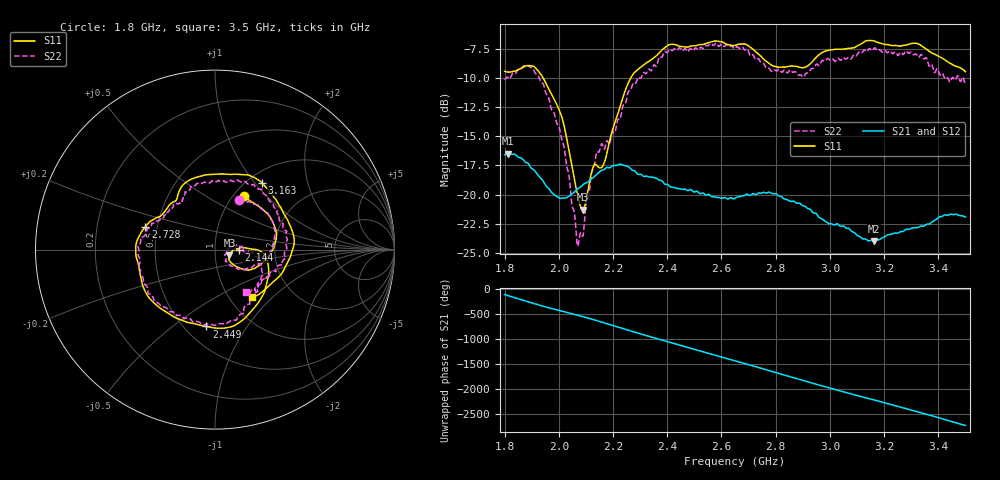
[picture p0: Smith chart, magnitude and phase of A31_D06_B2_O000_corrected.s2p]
! Created with skrf 1.9.0 (http://scikit-rf.org).
# Hz S RI R 50.0
!freq ReS11 ImS11 ReS21 ImS21 ReS12 ImS12 ReS22 ImS22
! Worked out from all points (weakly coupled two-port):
!   1601 points, 1.8 GHz to 3.5 GHz, reference 50 ohm
!   highest |S21| = -16.49 dB at 1.812 GHz (marker M1); lowest = -24.0 dB at 3.162 GHz (marker M2)
!   lowest |S11| = -21.3 dB at 2.089 GHz (marker M3), VSWR 1.19, Z = 58.6 - j3.63 ohm
!   |S11| at or under -10 dB: 1.942 GHz to 2.266 GHz (323.6 MHz wide, 15.4 % of centre)
!   |S22| runs from -24.4 to -7.0 dB; largest |S21 - S12| = 0.0025
!   S11 on the Smith chart (normalised r, x): 1.8 GHz: 1.12, +0.75; 2.144 GHz: 1.30, +0.00; 2.449 GHz: 0.64, -0.67; 2.728 GHz: 0.43, +0.13; 3.163 GHz: 1.15, +1.09; 3.5 GHz: 1.27, -0.76
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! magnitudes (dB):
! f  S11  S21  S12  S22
! 1.8 GHz  -9.4  -16.6  -16.6  -10.2
! 1.812 GHz  -9.5  -16.5  -16.5  -10.0
! 1.883 GHz  -9.0  -17.3  -17.3  -8.9
! 1.942 GHz  -10.0  -18.9  -18.8  -10.5
! 2.011 GHz  -13.4  -20.3  -20.3  -15.3
! 2.067 GHz  -19.8  -19.6  -19.6  -24.1
! 2.084 GHz  -21.2  -19.3  -19.2  -23.4
! 2.089 GHz  -21.3  -19.2  -19.2  -23.5
! 2.125 GHz  -17.7  -18.6  -18.6  -17.9
! 2.144 GHz  -17.6  -18.2  -18.2  -16.3
! 2.168 GHz  -17.3  -17.9  -17.9  -16.1
! 2.264 GHz  -10.1  -17.8  -17.8  -11.1
! 2.367 GHz  -7.9  -18.7  -18.7  -8.4
! 2.449 GHz  -7.3  -19.5  -19.5  -7.5
! 2.65 GHz  -7.2  -20.3  -20.3  -7.5
! 2.728 GHz  -7.8  -20.0  -20.0  -8.4
! 2.805 GHz  -9.1  -20.0  -20.0  -9.4
! 2.934 GHz  -8.7  -21.4  -21.4  -9.2
! 3.162 GHz  -6.8  -24.0  -23.9  -7.5
! 3.163 GHz  -6.8  -24.0  -23.9  -7.5
! 3.217 GHz  -7.2  -23.4  -23.4  -7.8
! 3.5 GHz  -9.5  -21.9  -21.9  -10.7
